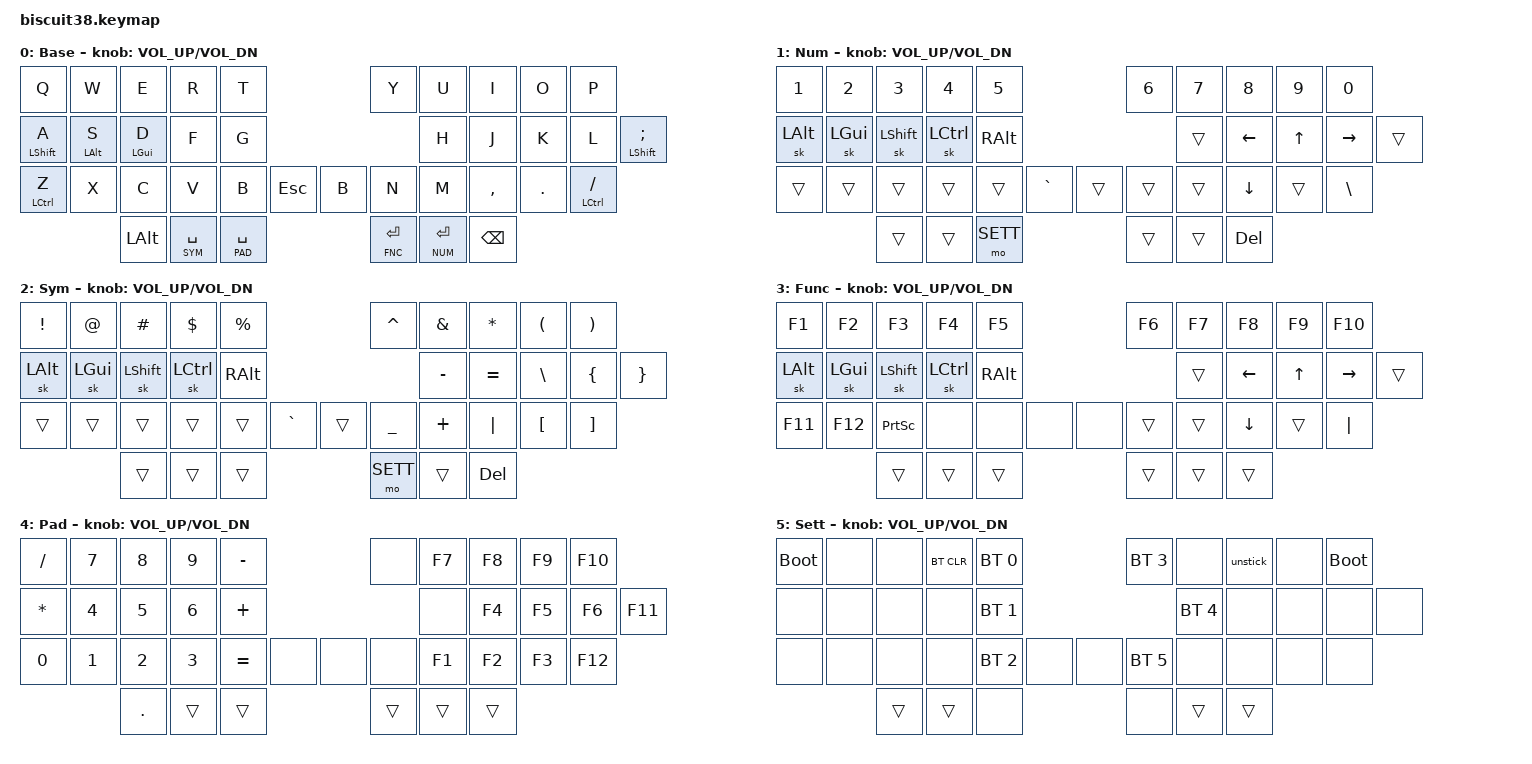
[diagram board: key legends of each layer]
/*
 * Copyright (c) 2022 Keebbear
 *
 * SPDX-License-Identifier: MIT
 */

#include <behaviors.dtsi>
#include <dt-bindings/zmk/keys.h>
#include <dt-bindings/zmk/bt.h>
#include <dt-bindings/zmk/outputs.h>

// Layer definitions
    #define BASE 0
    #define NUM 1
    #define SYM 2
    #define FNC 3
    #define PAD 4
	#define SETT 5
// -----------------

#define QUICK_TAP_MS 175

&mt {
  quick-tap-ms = <80>;
//   global-quick-tap;
  flavor = "balanced";
  tapping-term-ms = <150>;
};

&sk {
		// don't release mods on other mods presses
    ignore-modifiers;
};

&lt {  // layer-tap config
    flavor = "balanced";
    tapping-term-ms = <200>;
    quick-tap-ms = <QUICK_TAP_MS>;
};

/ {
		macros {
				// sometimes my device thinks a modifier is being held down
				// pressing all modifiers fixes it.
				unstick: unstick {
					label = "ZM_unstick";
					compatible = "zmk,behavior-macro";
					#binding-cells = <0>;
					bindings = <&kp LSHIFT &kp RSHIFT &kp LCTRL &kp RCTRL &kp LALT &kp RALT &kp LGUI &kp RGUI>;
				};
		};

    combos {
        compatible = "zmk,combos";
		combo_tab {
			timeout-ms = <25>;
			key-positions = <0 1>;
			bindings = <&kp TAB>;
		};
		combo_tab2 {
			timeout-ms = <25>;
			key-positions = <1 2>;
			bindings = <&kp TAB>;
		};
		combo_undo {
			timeout-ms = <25>;
			key-positions = <21 22>;
			bindings = <&kp LC(Z)>;
		};
		combo_1 {
			timeout-ms = <40>;
			key-positions = <0 10>;
			bindings = <&kp N1>;
		};
		combo_2 {
			timeout-ms = <40>;
			key-positions = <1 11>;
			bindings = <&kp N2>;
		};
		combo_3 {
			timeout-ms = <40>;
			key-positions = <2 12>;
			bindings = <&kp N3>;
		};
		combo_4 {
			timeout-ms = <40>;
			key-positions = <3 13>;
			bindings = <&kp N4>;
		};
		combo_5 {
			timeout-ms = <40>;
			key-positions = <4 14>;
			bindings = <&kp N5>;
		};
		combo_6 {
			timeout-ms = <40>;
			key-positions = <5 15>;
			bindings = <&kp N6>;
		};
		combo_7 {
			timeout-ms = <40>;
			key-positions = <6 16>;
			bindings = <&kp N7>;
		};
		combo_8 {
			timeout-ms = <40>;
			key-positions = <7 17>;
			bindings = <&kp N8>;
		};
		combo_9 {
			timeout-ms = <40>;
			key-positions = <8 18>;
			bindings = <&kp N9>;
		};
		combo_0 {
			timeout-ms = <40>;
			key-positions = <9 19>;
			bindings = <&kp N0>;
		};
		combo_minus {
			timeout-ms = <25>;
			key-positions = <15 16>;
			bindings = <&kp MINUS>;
		};
		combo_minus2 {
			timeout-ms = <40>;
			key-positions = <16 28>;
			bindings = <&kp MINUS>;
		};
		combo_under {
			timeout-ms = <40>;
			key-positions = <15 27>;
			bindings = <&kp UNDER>;
		};
		combo_bslh2 {
			timeout-ms = <40>;
			key-positions = <17 29>;
			bindings = <&kp BSLH>;
		};
		combo_sqt2 {
			timeout-ms = <40>;
			key-positions = <18 30>;
			bindings = <&kp SQT>;
		};
		combo_equal {
			timeout-ms = <25>;
			key-positions = <27 28>;
			bindings = <&kp EQUAL>;
		};
		combo_equal2 {
			timeout-ms = <40>;
			key-positions = <13 23>;
			bindings = <&kp EQUAL>;
		};
		combo_plus {
			timeout-ms = <40>;
			key-positions = <14 24>;
			bindings = <&kp PLUS>;
		};
		combo_lpar {
			timeout-ms = <25>;
			key-positions = <2 3>;
			bindings = <&kp LPAR>;
		};
		combo_lbrc {
			timeout-ms = <25>;
			key-positions = <12 13>;
			bindings = <&kp LBRC>;
		};
		combo_lbkt {
			timeout-ms = <25>;
			key-positions = <22 23>;
			bindings = <&kp LBKT>;
		};
		combo_rpar {
			timeout-ms = <25>;
			key-positions = <6 7>;
			bindings = <&kp RPAR>;
		};
		combo_rbrc {
			timeout-ms = <25>;
			key-positions = <16 17>;
			bindings = <&kp RBRC>;
		};
		combo_rbkt {
			timeout-ms = <25>;
			key-positions = <28 29>;
			bindings = <&kp RBKT>;
		};
		combo_sqt {
			timeout-ms = <25>;
			key-positions = <17 18>;
			bindings = <&kp SQT>;
		};
		combo_bslh {
			timeout-ms = <25>;
			key-positions = <29 30>;
			bindings = <&kp BSLH>;
		};
    };

    keymap {
				compatible = "zmk,keymap";

        // Base alpha layer
				default_layer {
						label = "Base";
						bindings = <
						&kp Q 		 &kp W	&kp E		&kp R 			&kp T           	 			&kp Y 			&kp U  	  	&kp I       &kp O    &kp P 
						&mt LSHIFT A &mt LALT S	&mt LGUI D		&kp F 			&kp G           	 			&kp H 			&kp J  	  	&kp K       &kp L    &mt LSHIFT SEMI
						&mt LCTRL Z  &kp X	&kp C		&kp V 			&kp B			&kp ESC	&kp B	&kp N 			&kp M  	  	&kp COMMA   &kp DOT  &mt LCTRL FSLH
									 		&kp LALT	&lt SYM SPACE	&lt PAD SPACE 	      			&lt FNC RET  	&lt NUM RET &kp BSPC
						>;
						sensor-bindings = <&inc_dec_kp C_VOL_UP C_VOL_DN>;
				};

        // Numbers and high frequency symbols
				num_layer {
						label = "Num";
						bindings = <
						&kp N1		&kp N2		&kp N3			&kp N4		&kp N5							&kp N6	&kp	N7		&kp N8		&kp N9		&kp N0
						&sk LALT	&sk LGUI	&sk LSHIFT		&sk LCTRL	&kp RALT						&trans	&kp LEFT	&kp UP  	&kp RIGHT	&trans
						&trans		&trans		&trans			&trans		&trans		&kp GRAVE	&trans	&trans	&trans		&kp DOWN	&trans		&kp BSLH
												&trans			&trans		&mo SETT       	    			&trans 	&trans		&kp DEL
						>;
						sensor-bindings = <&inc_dec_kp C_VOL_UP C_VOL_DN>;
				};

        // Main modifiers and arrow keys
		    sym_layer {
						label = "Sym";
						bindings = <
						&kp EXCL  	&kp AT 		&kp HASH  		&kp DLLR  	&kp PRCNT    						&kp CARET	&kp AMPS	&kp ASTRK	&kp LPAR	&kp RPAR
						&sk LALT	&sk LGUI	&sk LSHIFT		&sk LCTRL	&kp RALT 							&kp MINUS 	&kp EQUAL	&kp BSLH	&kp LBRC   	&kp RBRC
						&trans  	&trans 		&trans 			&trans   	&trans 		&kp GRAVE  &trans		&kp UNDER	&kp PLUS	&kp PIPE	&kp LBKT 	&kp RBKT
												&trans 		&trans 		&trans      							&mo SETT 	&trans 		&kp DEL
						>;
						sensor-bindings = <&inc_dec_kp C_VOL_UP C_VOL_DN>;
				};

        // Function keys with modifiers
				fnc_layer {
						label = "Func";
						bindings = <
						&kp F1		&kp F2		&kp F3			&kp F4		&kp F5                  	&kp F6	&kp F7		&kp F8		&kp F9		&kp F10 
						&sk LALT	&sk LGUI	&sk LSHIFT		&sk LCTRL	&kp RALT     				&trans	&kp LEFT	&kp UP		&kp RIGHT	&trans
						&kp F11		&kp F12		&kp PRINTSCREEN	&none		&none		&none	&none	&trans	&trans		&kp DOWN	&trans		&kp PIPE
												&trans			&trans		&trans              		&trans	&trans		&trans
						>;
						sensor-bindings = <&inc_dec_kp C_VOL_UP C_VOL_DN>;
				};

        // Low frequency symbols.
				pad_layer {
						label = "Pad";
						bindings = <
						&kp FSLH 	&kp N7	&kp N8	&kp N9	&kp MINUS         			&none 	&kp F7 	&kp F8	&kp F9	&kp F10 
						&kp ASTRK	&kp N4	&kp N5	&kp N6	&kp PLUS         			&none	&kp F4	&kp F5	&kp F6	&kp F11
						&kp N0		&kp N1	&kp N2	&kp N3	&kp EQUAL	&none	&none	&none	&kp F1	&kp F2	&kp F3	&kp F12
											&kp DOT	&trans	&trans        	 			&trans	&trans	&trans
						>;
						sensor-bindings = <&inc_dec_kp C_VOL_UP C_VOL_DN>;
				};

        // Used to change the keyboard's settings.
				settings_layer {
						label = "Sett";
						bindings = <
						&bootloader &none	&none	&bt BT_CLR	&bt BT_SEL 0         			&bt BT_SEL 3	&none	&unstick	&none	&bootloader 
						&none 		&none	&none	&none		&bt BT_SEL 1 					&bt BT_SEL 4	&none	&none		&none	&none
						&none 		&none	&none	&none		&bt BT_SEL 2	 &none	&none	&bt BT_SEL 5	&none	&none		&none	&none
											&trans	&trans		&none                          	&none			&trans	&trans
						>;
						sensor-bindings = <&inc_dec_kp C_VOL_UP C_VOL_DN>;
				};
		};
};
